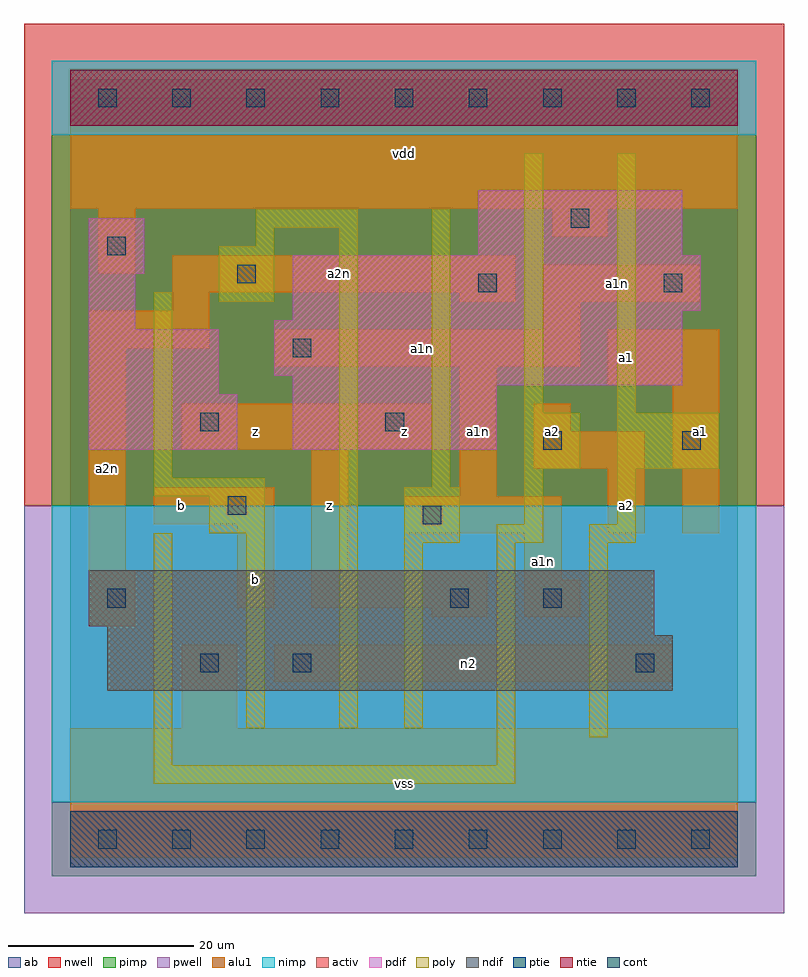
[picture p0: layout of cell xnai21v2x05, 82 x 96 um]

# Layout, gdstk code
import gdstk
lib = gdstk.Library(unit=1e-6, precision=1e-09)
def R(c, l, rs):  # rectangles x0, y0, x1, y1
    for r in rs: c.add(gdstk.rectangle(r[:2], r[2:], *l))
def A(c, l, x, y, w, h, nx, ny, dx, dy):  # array of equal rectangles
    R(c, l, [(x+i*dx, y+j*dy, x+i*dx+w, y+j*dy+h) for i in range(nx) for j in range(ny)])
ndif = (3, 0)
pdif = (4, 0)
ntie = (5, 0)
ptie = (6, 0)
cont = (25, 0)
pwell = (41, 0)
nwell = (42, 0)
activ = (43, 0)
pimp = (44, 0)
nimp = (45, 0)
poly = (46, 0)
alu1 = (49, 0)
ab = (63, 0)

xnai21v2x05 = lib.new_cell('xnai21v2x05')
R(xnai21v2x05, ndif, [(4,16,65,22), (4,22,63,23), (2,23,63,29)])
R(xnai21v2x05, pdif, [(2,42,18,48), (24,42,46,49), (2,48,16,55), (24,49,66,50), (22,50,66,56), (2,55,7,61), (24,56,66,57), (24,57,68,63), (2,61,8,67), (44,63,66,70)])
R(xnai21v2x05, ntie, [(0,77,72,83)])
R(xnai21v2x05, ptie, [(0,-3,72,3)])
A(xnai21v2x05, cont, 3, -1, 2, 2, 9, 2, 8, 80)
R(xnai21v2x05, cont, [(14,18,16,20), (24,18,26,20), (61,18,63,20), (4,25,6,27), (41,25,43,27), (51,25,53,27), (38,34,40,36), (17,35,19,37), (51,42,53,44), (66,42,68,44), (14,44,16,46), (34,44,36,46), (24,52,26,54), (44,59,46,61), (64,59,66,61), (18,60,20,62), (4,63,6,65), (54,66,56,68)])
R(xnai21v2x05, pwell, [(-5,-8,77,36)])
R(xnai21v2x05, nwell, [(-5,36,77,88)])
R(xnai21v2x05, activ, [(0,-3,72,3), (4,16,65,22), (4,22,63,23), (2,23,63,29), (2,42,18,48), (24,42,46,49), (2,48,16,55), (24,49,66,50), (22,50,66,56), (2,55,7,61), (24,56,66,57), (24,57,68,63), (2,61,8,67), (44,63,66,70), (0,77,72,83)])
R(xnai21v2x05, pimp, [(-2,-4,74,4), (-2,36,74,76)])
R(xnai21v2x05, nimp, [(-2,4,74,36), (-2,76,74,84)])
R(xnai21v2x05, poly, [(9,6,48,8), (9,8,11,33), (46,8,48,32), (56,11,58,32), (19,12,21,33), (29,12,31,66), (36,12,38,32), (36,32,42,38), (46,32,51,34), (56,32,61,34), (15,33,21,37), (49,34,51,40), (59,34,61,40), (9,37,21,39), (39,38,41,68), (9,39,11,59), (49,40,55,46), (59,40,70,46), (49,46,51,74), (59,46,61,74), (16,58,22,64), (20,64,22,66), (20,66,31,68)])
R(xnai21v2x05, alu1, [(0,-2,72,12), (12,12,18,21), (22,17,65,21), (2,23,7,29), (39,24,45,25), (49,24,55,28), (18,25,22,34), (26,25,45,29), (49,28,53,33), (2,29,6,53), (26,29,30,42), (36,33,53,37), (58,33,62,40), (66,33,70,40), (9,34,22,38), (42,37,46,51), (50,40,62,44), (65,40,70,49), (12,42,39,47), (50,44,54,47), (58,49,70,55), (22,51,55,55), (2,53,15,57), (51,55,55,58), (11,57,15,59), (42,58,48,59), (51,58,68,62), (11,59,48,63), (3,61,7,68), (52,65,58,68), (0,68,72,82)])
R(xnai21v2x05, ab, [(0,0,72,80)])
xnai21v2x05.add(gdstk.Label('a2n', (4,40), layer=49, texttype=0))
xnai21v2x05.add(gdstk.Label('a1n', (51,30), layer=49, texttype=0))
xnai21v2x05.add(gdstk.Label('a1n', (44,44), layer=49, texttype=0))
xnai21v2x05.add(gdstk.Label('a2n', (29,61), layer=49, texttype=0))
xnai21v2x05.add(gdstk.Label('n2', (43,19), layer=49, texttype=0))
xnai21v2x05.add(gdstk.Label('a1n', (38,53), layer=49, texttype=0))
xnai21v2x05.add(gdstk.Label('a1n', (59,60), layer=49, texttype=0))
xnai21v2x05.add(gdstk.Label('b', (12,36), layer=49, texttype=0))
xnai21v2x05.add(gdstk.Label('b', (20,28), layer=49, texttype=0))
xnai21v2x05.add(gdstk.Label('z', (28,36), layer=49, texttype=0))
xnai21v2x05.add(gdstk.Label('z', (20,44), layer=49, texttype=0))
xnai21v2x05.add(gdstk.Label('vss', (36,6), layer=49, texttype=0))
xnai21v2x05.add(gdstk.Label('a2', (52,44), layer=49, texttype=0))
xnai21v2x05.add(gdstk.Label('z', (36,44), layer=49, texttype=0))
xnai21v2x05.add(gdstk.Label('vdd', (36,74), layer=49, texttype=0))
xnai21v2x05.add(gdstk.Label('a2', (60,36), layer=49, texttype=0))
xnai21v2x05.add(gdstk.Label('a1', (68,44), layer=49, texttype=0))
xnai21v2x05.add(gdstk.Label('a1', (60,52), layer=49, texttype=0))

lib.write_gds('xnai21v2x05.gds')
